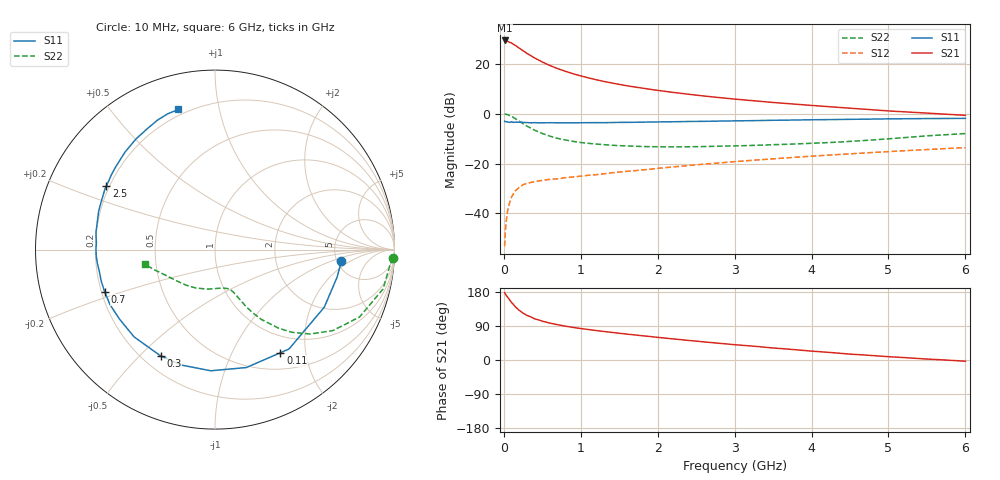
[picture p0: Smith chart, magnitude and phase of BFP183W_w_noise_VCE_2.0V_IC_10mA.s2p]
! Infineon Technologies  Discrete & RF Semiconductors
! BFP183W
! VCE =  2.0 V,  IC =  10 mA
! Common Emitter S-Parameters:  Jan 2017
# GHz  S  MA  R  50
!  f  S11  S21  S12  S22
! GHz  MAG  ANG  MAG  ANG  MAG  ANG  MAG  ANG
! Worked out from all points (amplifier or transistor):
!   77 points, 10 MHz to 6 GHz, reference 50 ohm
!   highest |S21| = 29.4 dB at 10 MHz (marker M1)
!   |S21| within 3 dB of that: start of sweep to 196.9 MHz
!   unconditionally stable (mu >= 1): 1.583 GHz to 4.347 GHz
!   at 130 MHz: K = 0.15, MSG = 29.8 dB, |S12| = -31.8 dB
!   at 2.2 GHz: K = 1.07, MAG = 13.3 dB, |S12| = -21.3 dB
!   at 6 GHz: K = 0.89, MSG = 6.5 dB, |S12| = -13.6 dB
!   lowest NFmin = 0.92 dB at 450 MHz
!   S11 on the Smith chart (normalised r, x): 10 MHz: 5.48, -1.38; 110 MHz: 0.73, -1.57; 300 MHz: 0.27, -0.58; 700 MHz: 0.21, -0.18; 2.5 GHz: 0.19, +0.26; 6 GHz: 0.17, +0.76
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0.01  0.7075 -5.1  29.56 178.0  0.0022 91.4  0.9916 -2.7
0.02  0.6975 -12.7  29.43 174.1  0.0044 93.6  0.9776 -5.4
0.05  0.6882 -27.8  28.47 165.3  0.0114 77.2  0.9617 -13.2
0.1  0.6904 -53.3  26.28 151.7  0.0212 66.2  0.8884 -25.0
0.11  0.6805 -57.6  25.65 149.6  0.0226 64.0  0.8683 -26.7
0.15  0.6799 -75.1  23.5 140.4  0.0286 57.3  0.7968 -34.5
0.2  0.6755 -92.0  20.77 131.1  0.0332 51.6  0.7084 -41.6
0.25  0.6698 -106.1  18.36 123.6  0.0377 46.2  0.6303 -47.0
0.3  0.6652 -117.1  16.27 117.8  0.0401 42.5  0.5644 -51.0
0.4  0.663 -132.9  13.15 108.8  0.0434 38.5  0.4674 -56.4
0.5  0.6581 -144.0  10.9 102.5  0.046 37.2  0.4011 -59.6
0.6  0.6604 -152.4  9.283 97.3  0.0483 36.4  0.3547 -61.7
0.7  0.6581 -159.0  8.037 93.1  0.0494 36.9  0.3203 -63.0
0.9  0.6558 -169.3  6.338 86.0  0.0539 38.6  0.2791 -65.2
1.1  0.6626 -176.8  5.242 80.4  0.0583 40.2  0.2551 -67.0
1.5  0.6704 171.5  3.879 70.6  0.0677 43.4  0.2287 -72.0
2.1  0.6873 157.4  2.812 57.7  0.0829 46.7  0.2168 -83.2
2.5  0.7014 149.6  2.366 49.8  0.0943 47.8  0.2184 -92.8
3.1  0.722 139.1  1.908 38.8  0.1123 47.6  0.2281 -107.4
4.1  0.7598 124.2  1.432 22.0  0.1439 45.1  0.259 -132.0
5.1  0.7911 113.0  1.116 7.6  0.1772 40.8  0.3225 -155.4
6  0.807 104.7  0.928 -3.2  0.2093 35.7  0.4005 -168.4
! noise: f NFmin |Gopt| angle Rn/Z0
0.45  0.92  0.1  112  0.11
0.9  0.97  0.18  144  0.09
1.9  1.47  0.37  -176  0.07
2.4  1.72  0.44  -167  0.09
